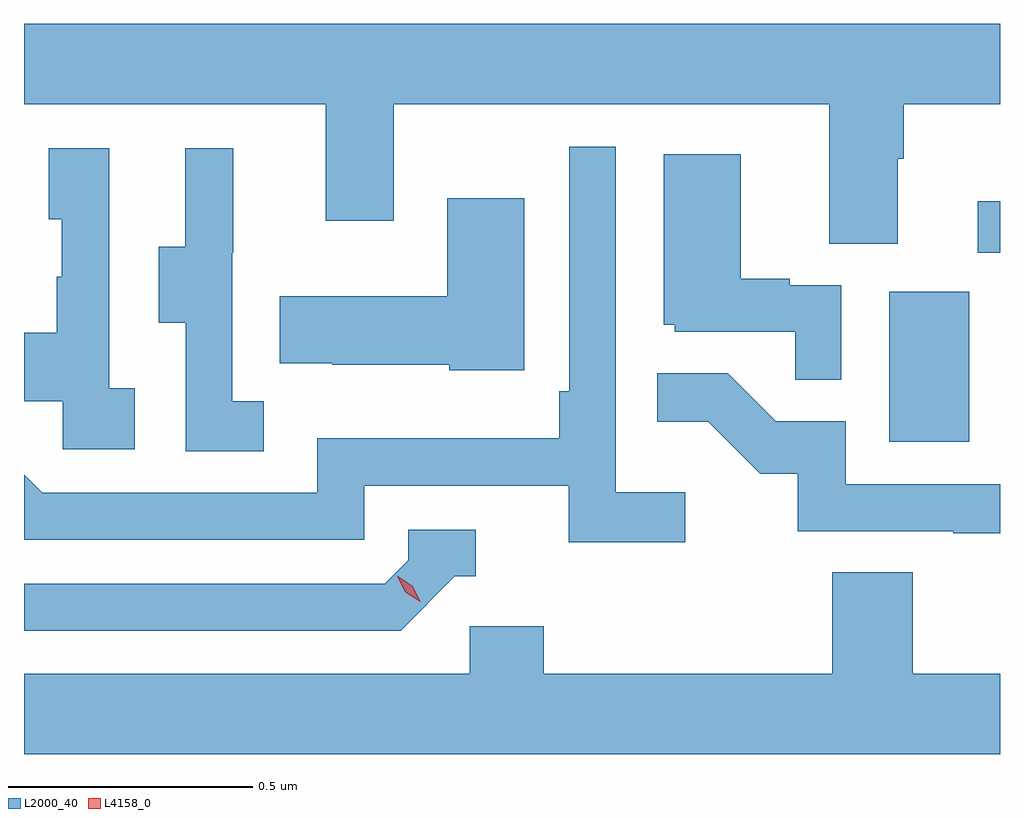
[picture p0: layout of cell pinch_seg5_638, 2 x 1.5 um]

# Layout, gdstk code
import gdstk
lib = gdstk.Library(unit=1e-6, precision=1e-09)
def R(c, l, rs):  # rectangles x0, y0, x1, y1
    for r in rs: c.add(gdstk.rectangle(r[:2], r[2:], *l))
def P(c, l, *ps):  # polygons
    for p in ps: c.add(gdstk.Polygon(p, *l))
L2000_40 = (2000, 40)
L4158_0 = (4158, 0)

pinch_seg5_638 = lib.new_cell('pinch_seg5_638')
R(pinch_seg5_638, L2000_40, [(1061.576,872.052,1061.74,872.359), (1061.757,872.439,1061.803,872.545)])
P(pinch_seg5_638, L2000_40, [(1059.803,872.744),(1060.421,872.744),(1060.421,872.505),(1060.561,872.505),(1060.561,872.744),(1061.453,872.744),(1061.453,872.458),(1061.593,872.458),(1061.593,872.632),(1061.606,872.632),(1061.606,872.744),(1061.803,872.744),(1061.803,872.908),(1059.803,872.908)],
  [(1061.158,871.948),(1061.016,871.948),(1061.016,872.656),(1060.92,872.656),(1060.92,872.155),(1060.9,872.155),(1060.9,872.059),(1060.404,872.059),(1060.404,871.947),(1059.84,871.947),(1059.803,871.984),(1059.803,871.851),(1060.5,871.851),(1060.5,871.962),(1060.919,871.962),(1060.919,871.846),(1061.158,871.846)],
  [(1060.294,872.135),(1060.23,872.135),(1060.23,872.439),(1060.232,872.439),(1060.232,872.653),(1060.133,872.653),(1060.133,872.451),(1060.079,872.451),(1060.079,872.296),(1060.134,872.296),(1060.134,872.032),(1060.294,872.032)],
  [(1060.03,872.162),(1059.978,872.162),(1059.978,872.653),(1059.854,872.653),(1059.854,872.508),(1059.88,872.508),(1059.88,872.39),(1059.87,872.39),(1059.87,872.275),(1059.803,872.275),(1059.803,872.135),(1059.882,872.135),(1059.882,872.037),(1060.03,872.037)],
  [(1061.478,872.373),(1061.372,872.373),(1061.372,872.386),(1061.272,872.386),(1061.272,872.641),(1061.114,872.641),(1061.114,872.292),(1061.136,872.292),(1061.136,872.277),(1061.383,872.277),(1061.383,872.179),(1061.478,872.179)],
  [(1060.828,872.551),(1060.67,872.551),(1060.67,872.35),(1060.327,872.35),(1060.327,872.213),(1060.435,872.213),(1060.435,872.21),(1060.674,872.21),(1060.674,872.198),(1060.828,872.198)],
  [(1061.803,871.965),(1061.487,871.965),(1061.487,872.094),(1061.343,872.094),(1061.245,872.192),(1061.101,872.192),(1061.101,872.093),(1061.205,872.093),(1061.312,871.986),(1061.389,871.986),(1061.389,871.869),(1061.707,871.869),(1061.707,871.864),(1061.803,871.864)],
  [(1060.686,871.776),(1060.729,871.776),(1060.729,871.872),(1060.59,871.872),(1060.59,871.809),(1060.542,871.761),(1059.803,871.761),(1059.803,871.665),(1060.575,871.665)],
  [(1061.803,871.576),(1061.624,871.576),(1061.624,871.784),(1061.459,871.784),(1061.459,871.576),(1060.868,871.576),(1060.868,871.674),(1060.716,871.674),(1060.716,871.576),(1059.803,871.576),(1059.803,871.412),(1061.803,871.412)])
P(pinch_seg5_638, L4158_0, [(1060.615,871.724),(1060.584,871.744),(1060.568,871.776),(1060.568,871.777),(1060.568,871.777),(1060.599,871.757),(1060.615,871.725),(1060.615,871.724)])

lib.write_gds('pinch_seg5_638.gds')
